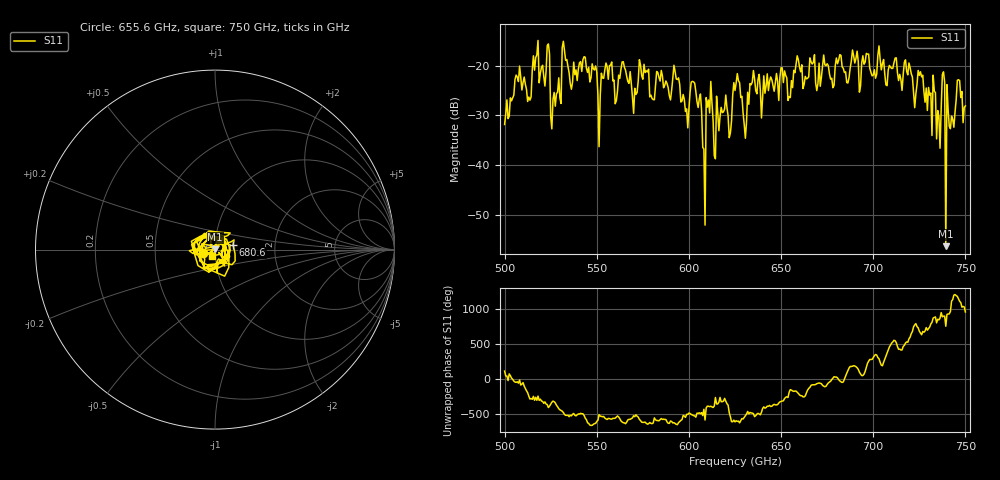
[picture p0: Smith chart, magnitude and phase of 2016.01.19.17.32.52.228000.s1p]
!Created with skrf (http://scikit-rf.org).
# GHz S RI R 50.0
!freq ReS11 ImS11
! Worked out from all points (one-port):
!   401 points, 500 GHz to 750 GHz, reference 50 ohm
!   lowest |S11| = -56.2 dB at 739.4 GHz (marker M1), VSWR 1.00, Z = 50.1 + j0.0967 ohm
!   |S11| at or under -10 dB: start of sweep to end of sweep
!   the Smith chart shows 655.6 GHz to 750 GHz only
!   S11 on the Smith chart (normalised r, x): 655.6 GHz: 0.87, -0.04; 680.6 GHz: 1.22, +0.07; 750 GHz: 0.96, -0.07
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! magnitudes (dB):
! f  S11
! 500 GHz  -31.8
! 506.9 GHz  -22.3
! 513.1 GHz  -26.3
! 516.9 GHz  -18.4
! 523.1 GHz  -16.0
! 526.2 GHz  -26.8
! 531.2 GHz  -16.4
! 548.8 GHz  -20.9
! 551.9 GHz  -26.1
! 562.5 GHz  -22.6
! 593.8 GHz  -22.8
! 598.8 GHz  -28.7
! 602.5 GHz  -23.3
! 608.1 GHz  -36.7
! 610.6 GHz  -26.9
! 615 GHz  -26.1
! 625 GHz  -25.0
! 630 GHz  -31.8
! 634.4 GHz  -23.3
! 655.6 GHz  -23.0
! 656.2 GHz  -24.4
! 680.6 GHz  -19.6
! 687.5 GHz  -20.5
! 718.8 GHz  -21.9
! 739.4 GHz  -56.2
! 740.6 GHz  -28.8
! 746.9 GHz  -23.0
! 750 GHz  -28.1
